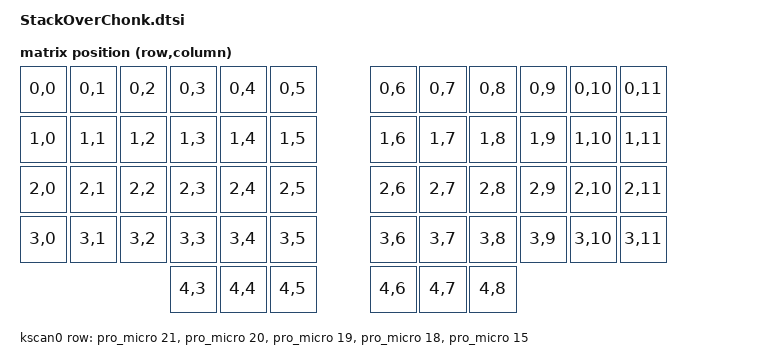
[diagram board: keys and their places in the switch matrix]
#include <dt-bindings/zmk/matrix_transform.h>
// #include <dt-bindings/led/led.h>
#include "StackOverChonk-layouts.dtsi"

/ {
    chosen {
        zephyr,display = &oled;
        zmk,kscan = &kscan0;
        // zmk,underglow = &led_strip;
        zmk,physical-layout = &stackoverchonk_layout;
    };

    default_transform: keymap_transform_0 {
        compatible = "zmk,matrix-transform";
        columns = <12>;
        rows = <5>;

// | SW1  | SW2  | SW3  | SW4  | SW5  | SW6  |                 | SW7  | SW8  | SW9  | SW10 | SW11 | SW12 |
// | SW13 | SW14 | SW15 | SW16 | SW17 | SW18 |                 | SW19 | SW20 | SW21 | SW22 | SW23 | SW24 |
// | SW25 | SW26 | SW27 | SW28 | SW29 | SW30 |                 | SW31 | SW32 | SW33 | SW34 | SW35 | SW36 |
// | SW37 | SW38 | SW39 | SW40 | SW41 | SW42 |                 | SW43 | SW44 | SW45 | SW46 | SW47 | SW48 |
//                      | SW49 | SW50 | SW51 |                 | SW52 | SW53 | SW54 |

        map = <
RC(0,0) RC(0,1) RC(0,2) RC(0,3) RC(0,4) RC(0,5)                   RC(0,6) RC(0,7) RC(0,8) RC(0,9) RC(0,10) RC(0,11)
RC(1,0) RC(1,1) RC(1,2) RC(1,3) RC(1,4) RC(1,5)                   RC(1,6) RC(1,7) RC(1,8) RC(1,9) RC(1,10) RC(1,11)
RC(2,0) RC(2,1) RC(2,2) RC(2,3) RC(2,4) RC(2,5)                   RC(2,6) RC(2,7) RC(2,8) RC(2,9) RC(2,10) RC(2,11)
RC(3,0) RC(3,1) RC(3,2) RC(3,3) RC(3,4) RC(3,5)                   RC(3,6) RC(3,7) RC(3,8) RC(3,9) RC(3,10) RC(3,11)
                        RC(4,3) RC(4,4) RC(4,5)                   RC(4,6) RC(4,7) RC(4,8)
        >;
    };

    kscan0: kscan {
        compatible = "zmk,kscan-gpio-matrix";
        wakeup-source;

        diode-direction = "col2row";
        row-gpios
            = <&pro_micro 21 (GPIO_ACTIVE_HIGH | GPIO_PULL_DOWN)>
            , <&pro_micro 20 (GPIO_ACTIVE_HIGH | GPIO_PULL_DOWN)>
            , <&pro_micro 19 (GPIO_ACTIVE_HIGH | GPIO_PULL_DOWN)>
            , <&pro_micro 18 (GPIO_ACTIVE_HIGH | GPIO_PULL_DOWN)>
            , <&pro_micro 15 (GPIO_ACTIVE_HIGH | GPIO_PULL_DOWN)>
            ;
    };
};

&stackoverchonk_layout{
    transform = <&default_transform>;
};

